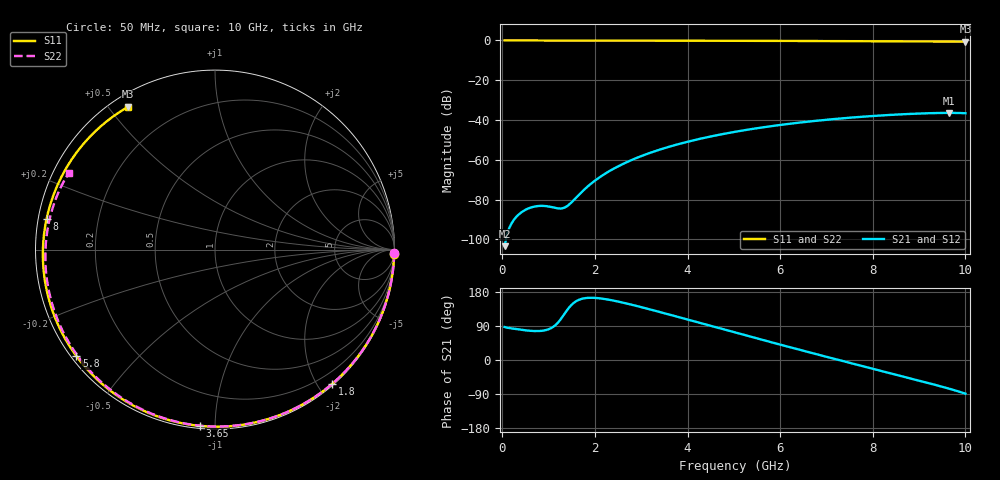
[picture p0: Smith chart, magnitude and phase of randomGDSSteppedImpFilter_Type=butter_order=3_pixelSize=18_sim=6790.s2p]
! freq	dB(S11)	phase(S11)	dB(S12)	phase(S12)
!  dB(S21)	phase(S21)	dB(S22)	phase(S22)
!S-par simulation data
#  GHz  S  DB  R 50
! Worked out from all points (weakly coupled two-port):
!   200 points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, 50 MHz to 10 GHz, reference 50 ohm
!   highest |S21| = -36.42 dB at 9.65 GHz (marker M1); lowest = -103.4 dB at 50 MHz (marker M2)
!   lowest |S11| = -0.6 dB at 10 GHz (marker M3), VSWR 28.14, Z = 2.34 + j28.1 ohm
!   |S11| at or under -10 dB: nowhere
!   |S22| runs from -0.7 to 0.0 dB; largest |S21 - S12| = 0
!   S11 on the Smith chart (normalised r, x): 50 MHz: 6, -83; 1.8 GHz: 0.02, -2.19; 3.65 GHz: 0.01, -0.92; 5.8 GHz: 0.01, -0.34; 8 GHz: 0.02, +0.09; 10 GHz: 0.05, +0.56
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0.05  -0.02 -1.4  -103.44 87.0  -103.44 87.0  -0.01 -1.1
0.4  -0.02 -11.1  -86.64 79.9  -86.64 79.9  -0.02 -9.0
0.75  -0.03 -20.8  -83.33 76.3  -83.33 76.3  -0.02 -16.8
1.15  -0.04 -31.7  -84.23 92.3  -84.23 92.3  -0.03 -25.7
1.55  -0.05 -42.4  -80.11 151.4  -80.11 151.4  -0.04 -34.5
1.75  -0.06 -47.7  -75.41 162.4  -75.41 162.4  -0.05 -38.8
1.8  -0.06 -49.0  -74.34 163.4  -74.34 163.4  -0.05 -39.9
2.1  -0.07 -56.8  -68.83 162.8  -68.83 162.8  -0.06 -46.3
2.45  -0.08 -65.7  -63.93 155.5  -63.93 155.5  -0.07 -53.7
2.9  -0.10 -76.9  -59.08 142.6  -59.08 142.6  -0.08 -63.1
3.4  -0.11 -88.9  -54.90 126.7  -54.90 126.7  -0.10 -73.2
3.65  -0.12 -94.8  -53.14 118.4  -53.14 118.4  -0.10 -78.2
4.35  -0.15 -110.8  -49.04 95.1  -49.04 95.1  -0.13 -92.0
5.05  -0.19 -126.3  -45.84 71.8  -45.84 71.8  -0.16 -105.3
5.8  -0.23 -142.5  -43.13 47.1  -43.13 47.1  -0.20 -119.3
6.7  -0.29 -161.8  -40.59 18.0  -40.59 18.0  -0.26 -135.9
7.35  -0.35 -175.9  -39.15 -2.7  -39.15 -2.7  -0.32 -148.0
8  -0.41 169.7  -38.00 -23.2  -38.00 -23.2  -0.38 -160.4
8.35  -0.44 161.7  -37.49 -34.1  -37.49 -34.1  -0.42 -167.3
9.05  -0.52 145.2  -36.72 -56.1  -36.72 -56.1  -0.51 177.9
9.65  -0.58 130.3  -36.42 -75.8  -36.42 -75.8  -0.61 163.3
10  -0.62 121.3  -36.62 -88.9  -36.62 -88.9  -0.73 152.4
